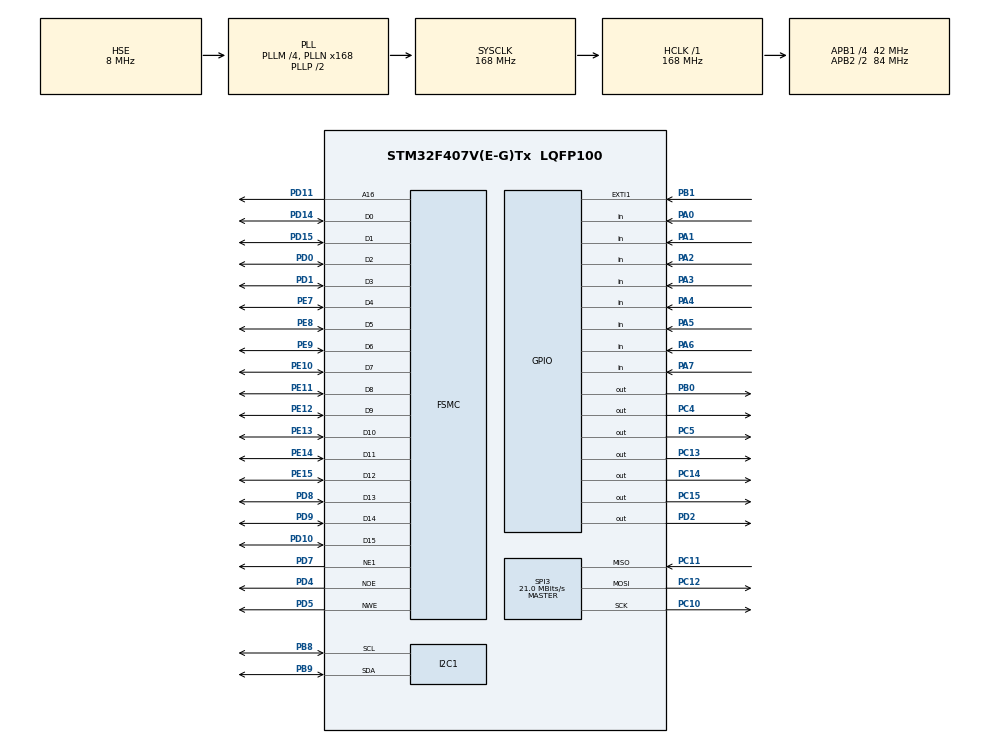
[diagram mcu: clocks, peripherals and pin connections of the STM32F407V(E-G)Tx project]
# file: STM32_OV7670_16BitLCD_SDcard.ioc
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FSMC.AddressSetupTime1=6
FSMC.BusTurnAroundDuration1=0
FSMC.DataSetupTime1=6
Mcu.Family=STM32F4
Mcu.Name=STM32F407V(E-G)Tx
Mcu.Package=LQFP100
NVIC.EXTI1_IRQn=true\:0\:0\:false\:false\:true\:true\:true
NVIC.PriorityGroup=NVIC_PRIORITYGROUP_4
PA0-WKUP.Signal=GPIO_Input
PA1.Signal=GPIO_Input
PA2.Signal=GPIO_Input
PA3.Signal=GPIO_Input
PA4.Signal=GPIO_Input
PA5.Signal=GPIO_Input
PA6.Signal=GPIO_Input
PA7.Signal=GPIO_Input
PB0.Signal=GPIO_Output
PB1.Signal=GPXTI1
PB8.Mode=I2C
PB8.Signal=I2C1_SCL
PB9.Mode=I2C
PB9.Signal=I2C1_SDA
PC10.Mode=Full_Duplex_Master
PC10.Signal=SPI3_SCK
PC11.Mode=Full_Duplex_Master
PC11.Signal=SPI3_MISO
PC12.Mode=Full_Duplex_Master
PC12.Signal=SPI3_MOSI
PC13-ANTI_TAMP.Signal=GPIO_Output
PC14-OSC32_IN.Signal=GPIO_Output
PC15-OSC32_OUT.Signal=GPIO_Output
PC4.Signal=GPIO_Output
PC5.Signal=GPIO_Output
PD0.Mode=16b-d1
PD0.Signal=FSMC_D2
PD1.Mode=16b-d1
PD1.Signal=FSMC_D3
PD10.Mode=16b-d1
PD10.Signal=FSMC_D15
PD11.Mode=A16_1
PD11.Signal=FSMC_A16
PD14.Mode=16b-d1
PD14.Signal=FSMC_D0
PD15.Mode=16b-d1
PD15.Signal=FSMC_D1
PD2.Signal=GPIO_Output
PD4.Mode=Lcd1
PD4.Signal=FSMC_NOE
PD5.Mode=Lcd1
PD5.Signal=FSMC_NWE
PD7.Mode=NorPsramChipSelect1_1
PD7.Signal=FSMC_NE1
PD8.Mode=16b-d1
PD8.Signal=FSMC_D13
PD9.Mode=16b-d1
PD9.Signal=FSMC_D14
PE10.Mode=16b-d1
PE10.Signal=FSMC_D7
PE11.Mode=16b-d1
PE11.Signal=FSMC_D8
PE12.Mode=16b-d1
PE12.Signal=FSMC_D9
PE13.Mode=16b-d1
PE13.Signal=FSMC_D10
PE14.Mode=16b-d1
PE14.Signal=FSMC_D11
PE15.Mode=16b-d1
PE15.Signal=FSMC_D12
PE7.Mode=16b-d1
PE7.Signal=FSMC_D4
PE8.Mode=16b-d1
PE8.Signal=FSMC_D5
PE9.Mode=16b-d1
PE9.Signal=FSMC_D6
PH0-OSC_IN.Mode=HSE-External-Oscillator
PH0-OSC_IN.Signal=RCC_OSC_IN
PH1-OSC_OUT.Mode=HSE-External-Oscillator
PH1-OSC_OUT.Signal=RCC_OSC_OUT
ProjectManager.HeapSize=0x200
ProjectManager.StackSize=0x400
ProjectManager.TargetToolchain=STM32CubeIDE
RCC.48MHZClocksFreq_Value=84000000
RCC.AHBFreq_Value=168000000
RCC.APB1CLKDivider=RCC_HCLK_DIV4
RCC.APB1Freq_Value=42000000
RCC.APB1TimFreq_Value=84000000
RCC.APB2CLKDivider=RCC_HCLK_DIV2
RCC.APB2Freq_Value=84000000
RCC.APB2TimFreq_Value=168000000
RCC.CortexFreq_Value=168000000
RCC.HCLKFreq_Value=168000000
RCC.HSE_VALUE=8000000
RCC.HSI_VALUE=16000000
RCC.LSE_VALUE=32768
RCC.PLLM=4
RCC.PLLN=168
RCC.PLLSourceVirtual=RCC_PLLSOURCE_HSE
RCC.SYSCLKFreq_VALUE=168000000
RCC.SYSCLKSource=RCC_SYSCLKSOURCE_PLLCLK
RCC.VCOOutputFreq_Value=336000000
SPI3.CalculateBaudRate=21.0 MBits/s
SPI3.Direction=SPI_DIRECTION_2LINES
SPI3.Mode=SPI_MODE_MASTER
SPI3.VirtualType=VM_MASTER
VP_FATFS_VS_Generic.Mode=User_defined
board=custom

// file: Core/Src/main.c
/* USER CODE BEGIN Header */
/**
  ******************************************************************************
  * @file           : main.c
  * @brief          : Main program body
  ******************************************************************************
  * @attention
  *
  * <h2><center>&copy; Copyright (c) 2021 STMicroelectronics.
  * All rights reserved.</center></h2>
  *
  * This software component is licensed by ST under BSD 3-Clause license,
  * the "License"; You may not use this file except in compliance with the
  * License. You may obtain a copy of the License at:
  *                        opensource.org/licenses/BSD-3-Clause
  *
  ******************************************************************************
  */
/* USER CODE END Header */
#include "main.h"
#include "fatfs.h"

/* USER CODE BEGIN Includes */
#include "ILI9341.h"
#include "OV7670.h"
#include "diskio.h"
#include "fatfs_sd.h"
/* USER CODE END Includes */

I2C_HandleTypeDef hi2c1;

SPI_HandleTypeDef hspi3;

SRAM_HandleTypeDef hsram1;

/* USER CODE BEGIN PV */
char Vsync=0;

FATFS   	fs;
FRESULT 	res;
FIL 		file;
char buffer[100];
char write_buffer[50];
char brw;
/* USER CODE END PV */

void SystemClock_Config(void);
static void MX_GPIO_Init(void);
static void MX_FSMC_Init(void);
static void MX_I2C1_Init(void);
static void MX_SPI3_Init(void);

int main(void)
{

  /* MCU Configuration--------------------------------------------------------*/

  /* Reset of all peripherals, Initializes the Flash interface and the Systick. */
  HAL_Init();

  /* Configure the system clock */
  SystemClock_Config();

  /* Initialize all configured peripherals */
  MX_GPIO_Init();
  MX_FSMC_Init();
  MX_I2C1_Init();
  MX_SPI3_Init();
  MX_FATFS_Init();
  /* USER CODE BEGIN 2 */
  HAL_Delay(200);

  LcdInit();
  FIFO_REN_L();
  FIFO_WE_H();
  Vsync=0;
  ov7670_init();

  /*
  res = f_mount(&fs, "", 0);
  if(res != FR_OK)
  {
  	  while(1);
  }
*/
  /* USER CODE END 2 */

  /* Infinite loop */
  while (1)
  {

    /* USER CODE BEGIN 3 */
	  Camera2LCD();

  }
  /* USER CODE END 3 */
}

void SystemClock_Config(void)
{
  RCC_OscInitTypeDef RCC_OscInitStruct = {0};
  RCC_ClkInitTypeDef RCC_ClkInitStruct = {0};

  /** Configure the main internal regulator output voltage
  */
  __HAL_RCC_PWR_CLK_ENABLE();
  __HAL_PWR_VOLTAGESCALING_CONFIG(PWR_REGULATOR_VOLTAGE_SCALE1);
  /** Initializes the RCC Oscillators according to the specified parameters
  * in the RCC_OscInitTypeDef structure.
  */
  RCC_OscInitStruct.OscillatorType = RCC_OSCILLATORTYPE_HSE;
  RCC_OscInitStruct.HSEState = RCC_HSE_ON;
  RCC_OscInitStruct.PLL.PLLState = RCC_PLL_ON;
  RCC_OscInitStruct.PLL.PLLSource = RCC_PLLSOURCE_HSE;
  RCC_OscInitStruct.PLL.PLLM = 4;
  RCC_OscInitStruct.PLL.PLLN = 168;
  RCC_OscInitStruct.PLL.PLLP = RCC_PLLP_DIV2;
  RCC_OscInitStruct.PLL.PLLQ = 4;
  if (HAL_RCC_OscConfig(&RCC_OscInitStruct) != HAL_OK)
  {
    Error_Handler();
  }
  /** Initializes the CPU, AHB and APB buses clocks
  */
  RCC_ClkInitStruct.ClockType = RCC_CLOCKTYPE_HCLK|RCC_CLOCKTYPE_SYSCLK
                              |RCC_CLOCKTYPE_PCLK1|RCC_CLOCKTYPE_PCLK2;
  RCC_ClkInitStruct.SYSCLKSource = RCC_SYSCLKSOURCE_PLLCLK;
  RCC_ClkInitStruct.AHBCLKDivider = RCC_SYSCLK_DIV1;
  RCC_ClkInitStruct.APB1CLKDivider = RCC_HCLK_DIV4;
  RCC_ClkInitStruct.APB2CLKDivider = RCC_HCLK_DIV2;

  if (HAL_RCC_ClockConfig(&RCC_ClkInitStruct, FLASH_LATENCY_5) != HAL_OK)
  {
    Error_Handler();
  }
}

static void MX_I2C1_Init(void)
{

  hi2c1.Instance = I2C1;
  hi2c1.Init.ClockSpeed = 100000;
  hi2c1.Init.DutyCycle = I2C_DUTYCYCLE_2;
  hi2c1.Init.OwnAddress1 = 0;
  hi2c1.Init.AddressingMode = I2C_ADDRESSINGMODE_7BIT;
  hi2c1.Init.DualAddressMode = I2C_DUALADDRESS_DISABLE;
  hi2c1.Init.OwnAddress2 = 0;
  hi2c1.Init.GeneralCallMode = I2C_GENERALCALL_DISABLE;
  hi2c1.Init.NoStretchMode = I2C_NOSTRETCH_DISABLE;
  if (HAL_I2C_Init(&hi2c1) != HAL_OK)
  {
    Error_Handler();
  }

}

static void MX_SPI3_Init(void)
{

  /* SPI3 parameter configuration*/
  hspi3.Instance = SPI3;
  hspi3.Init.Mode = SPI_MODE_MASTER;
  hspi3.Init.Direction = SPI_DIRECTION_2LINES;
  hspi3.Init.DataSize = SPI_DATASIZE_8BIT;
  hspi3.Init.CLKPolarity = SPI_POLARITY_LOW;
  hspi3.Init.CLKPhase = SPI_PHASE_1EDGE;
  hspi3.Init.NSS = SPI_NSS_SOFT;
  hspi3.Init.BaudRatePrescaler = SPI_BAUDRATEPRESCALER_2;
  hspi3.Init.FirstBit = SPI_FIRSTBIT_MSB;
  hspi3.Init.TIMode = SPI_TIMODE_DISABLE;
  hspi3.Init.CRCCalculation = SPI_CRCCALCULATION_DISABLE;
  hspi3.Init.CRCPolynomial = 10;
  if (HAL_SPI_Init(&hspi3) != HAL_OK)
  {
    Error_Handler();
  }

}

static void MX_GPIO_Init(void)
{
  GPIO_InitTypeDef GPIO_InitStruct = {0};

  /* GPIO Ports Clock Enable */
  __HAL_RCC_GPIOC_CLK_ENABLE();
  __HAL_RCC_GPIOH_CLK_ENABLE();
  __HAL_RCC_GPIOA_CLK_ENABLE();
  __HAL_RCC_GPIOB_CLK_ENABLE();
  __HAL_RCC_GPIOE_CLK_ENABLE();
  __HAL_RCC_GPIOD_CLK_ENABLE();

  /*Configure GPIO pin Output Level */
  HAL_GPIO_WritePin(GPIOC, GPIO_PIN_13|GPIO_PIN_14|GPIO_PIN_15|GPIO_PIN_4
                          |GPIO_PIN_5, GPIO_PIN_RESET);

  /*Configure GPIO pin Output Level */
  HAL_GPIO_WritePin(GPIOB, GPIO_PIN_0, GPIO_PIN_RESET);

  /*Configure GPIO pin Output Level */
  HAL_GPIO_WritePin(GPIOD, GPIO_PIN_2, GPIO_PIN_RESET);

  /*Configure GPIO pins : PC13 PC14 PC15 PC4
                           PC5 */
  GPIO_InitStruct.Pin = GPIO_PIN_13|GPIO_PIN_14|GPIO_PIN_15|GPIO_PIN_4
                          |GPIO_PIN_5;
  GPIO_InitStruct.Mode = GPIO_MODE_OUTPUT_PP;
  GPIO_InitStruct.Pull = GPIO_NOPULL;
  GPIO_InitStruct.Speed = GPIO_SPEED_FREQ_LOW;
  HAL_GPIO_Init(GPIOC, &GPIO_InitStruct);

  /*Configure GPIO pins : PA0 PA1 PA2 PA3
                           PA4 PA5 PA6 PA7 */
  GPIO_InitStruct.Pin = GPIO_PIN_0|GPIO_PIN_1|GPIO_PIN_2|GPIO_PIN_3
                          |GPIO_PIN_4|GPIO_PIN_5|GPIO_PIN_6|GPIO_PIN_7;
  GPIO_InitStruct.Mode = GPIO_MODE_INPUT;
  GPIO_InitStruct.Pull = GPIO_NOPULL;
  HAL_GPIO_Init(GPIOA, &GPIO_InitStruct);

  /*Configure GPIO pin : PB0 */
  GPIO_InitStruct.Pin = GPIO_PIN_0;
  GPIO_InitStruct.Mode = GPIO_MODE_OUTPUT_PP;
  GPIO_InitStruct.Pull = GPIO_NOPULL;
  GPIO_InitStruct.Speed = GPIO_SPEED_FREQ_LOW;
  HAL_GPIO_Init(GPIOB, &GPIO_InitStruct);

  /*Configure GPIO pin : PB1 */
  GPIO_InitStruct.Pin = GPIO_PIN_1;
  GPIO_InitStruct.Mode = GPIO_MODE_IT_RISING;
  GPIO_InitStruct.Pull = GPIO_NOPULL;
  HAL_GPIO_Init(GPIOB, &GPIO_InitStruct);

  /*Configure GPIO pin : PD2 */
  GPIO_InitStruct.Pin = GPIO_PIN_2;
  GPIO_InitStruct.Mode = GPIO_MODE_OUTPUT_PP;
  GPIO_InitStruct.Pull = GPIO_NOPULL;
  GPIO_InitStruct.Speed = GPIO_SPEED_FREQ_LOW;
  HAL_GPIO_Init(GPIOD, &GPIO_InitStruct);

  /* EXTI interrupt init*/
  HAL_NVIC_SetPriority(EXTI1_IRQn, 0, 0);
  HAL_NVIC_EnableIRQ(EXTI1_IRQn);

}

/* FSMC initialization function */
static void MX_FSMC_Init(void)
{

  FSMC_NORSRAM_TimingTypeDef Timing = {0};

  /** Perform the SRAM1 memory initialization sequence
  */
  hsram1.Instance = FSMC_NORSRAM_DEVICE;
  hsram1.Extended = FSMC_NORSRAM_EXTENDED_DEVICE;
  /* hsram1.Init */
  hsram1.Init.NSBank = FSMC_NORSRAM_BANK1;
  hsram1.Init.DataAddressMux = FSMC_DATA_ADDRESS_MUX_DISABLE;
  hsram1.Init.MemoryType = FSMC_MEMORY_TYPE_SRAM;
  hsram1.Init.MemoryDataWidth = FSMC_NORSRAM_MEM_BUS_WIDTH_16;
  hsram1.Init.BurstAccessMode = FSMC_BURST_ACCESS_MODE_DISABLE;
  hsram1.Init.WaitSignalPolarity = FSMC_WAIT_SIGNAL_POLARITY_LOW;
  hsram1.Init.WrapMode = FSMC_WRAP_MODE_DISABLE;
  hsram1.Init.WaitSignalActive = FSMC_WAIT_TIMING_BEFORE_WS;
  hsram1.Init.WriteOperation = FSMC_WRITE_OPERATION_ENABLE;
  hsram1.Init.WaitSignal = FSMC_WAIT_SIGNAL_DISABLE;
  hsram1.Init.ExtendedMode = FSMC_EXTENDED_MODE_DISABLE;
  hsram1.Init.AsynchronousWait = FSMC_ASYNCHRONOUS_WAIT_DISABLE;
  hsram1.Init.WriteBurst = FSMC_WRITE_BURST_DISABLE;
  hsram1.Init.PageSize = FSMC_PAGE_SIZE_NONE;
  /* Timing */
  Timing.AddressSetupTime = 6;
  Timing.AddressHoldTime = 15;
  Timing.DataSetupTime = 6;
  Timing.BusTurnAroundDuration = 0;
  Timing.CLKDivision = 16;
  Timing.DataLatency = 17;
  Timing.AccessMode = FSMC_ACCESS_MODE_A;
  /* ExtTiming */

  if (HAL_SRAM_Init(&hsram1, &Timing, NULL) != HAL_OK)
  {
    Error_Handler( );
  }

}

/* USER CODE BEGIN 4 */
void Camera2LCD(void)
{
	short count,count2;
	short x,y;
	char CAM_Data[2];
	short CAMdata;
	int stopTime,startTime;
	uint8_t HorizantalData[CAM_H * 2];

	if(Vsync == 2)
	{
		startTime = HAL_GetTick();

		res = f_open(&file, "image.bmp", FA_CREATE_ALWAYS  | FA_WRITE);
		f_write(&file, bmp_header, sizeof(bmp_header), &brw);

		FIFO_RRST_L();
		FIFO_RCLK_L();
		FIFO_RCLK_H();
		FIFO_RCLK_L();
		FIFO_RRST_H();
		FIFO_RCLK_H();

		x=0;
		y=0;

	    for(count2 = 0;count2 < CAM_V; count2++)
	    {
	    	Set_Address(x,y++,CAM_H,CAM_V);

		   for( count = 0; count < CAM_H; count++ )
	        {
				FIFO_RCLK_L();
				CAM_Data[1] = (GPIOA->IDR);	  /* GPIO_ReadInputData(GPIOA) */
				FIFO_RCLK_H();

				FIFO_RCLK_L();
				CAM_Data[0] = (GPIOA->IDR);	  /* GPIO_ReadInputData(GPIOA) */
				FIFO_RCLK_H();

				CAMdata = (CAM_Data[1]<<8) | (CAM_Data[0]);

				LCD_RAM = CAMdata;

				HorizantalData[2*count]   = CAM_Data[0];
				HorizantalData[2*count-1] = CAM_Data[1];
			}

		   f_write(&file, HorizantalData, sizeof(HorizantalData), &brw);
		}
	    f_close(&file);

	    Vsync = 0;

	    stopTime = HAL_GetTick() - startTime;

	}
}
/* USER CODE END 4 */

void Error_Handler(void)
{
  __disable_irq();
  while (1)
  {
  }
}

/************************ (C) COPYRIGHT STMicroelectronics *****END OF FILE****/
